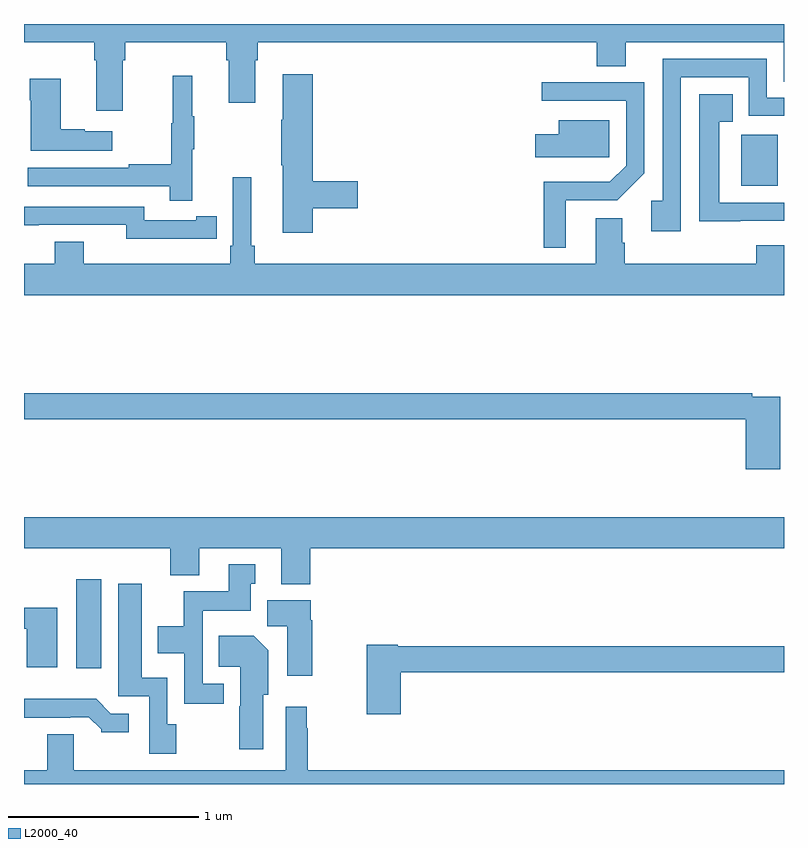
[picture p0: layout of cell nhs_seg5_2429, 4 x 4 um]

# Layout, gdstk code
import gdstk
lib = gdstk.Library(unit=1e-6, precision=1e-09)
def R(c, l, rs):  # rectangles x0, y0, x1, y1
    for r in rs: c.add(gdstk.rectangle(r[:2], r[2:], *l))
def P(c, l, *ps):  # polygons
    for p in ps: c.add(gdstk.Polygon(p, *l))
L2000_40 = (2000, 40)

nhs_seg5_2429 = lib.new_cell('nhs_seg5_2429')
R(nhs_seg5_2429, L2000_40, [(251.276,909.408,251.407,909.877), (254.774,911.948,254.968,912.216)])
P(nhs_seg5_2429, L2000_40, [(251.521,912.608),(251.534,912.608),(251.534,912.704),(252.065,912.704),(252.065,912.608),(252.077,912.608),(252.077,912.384),(252.217,912.384),(252.217,912.608),(252.23,912.608),(252.23,912.704),(254.015,912.704),(254.015,912.577),(254.167,912.577),(254.167,912.704),(254.999,912.704),(254.999,912.496),(255,912.496),(255,912.799),(251,912.799),(251,912.704),(251.369,912.704),(251.369,912.608),(251.381,912.608),(251.381,912.342),(251.521,912.342)],
  [(254.457,912.519),(254.814,912.519),(254.814,912.315),(255,912.315),(255,912.411),(254.91,912.411),(254.91,912.615),(254.361,912.615),(254.361,911.87),(254.301,911.87),(254.301,911.709),(254.457,911.709)],
  [(252.521,911.83),(252.757,911.83),(252.757,911.972),(252.521,911.972),(252.521,912.535),(252.362,912.535),(252.362,912.296),(252.355,912.296),(252.355,912.055),(252.362,912.055),(252.362,911.7),(252.521,911.7)],
  [(251.885,912.139),(251.896,912.139),(251.896,912.313),(251.885,912.313),(251.885,912.526),(251.782,912.526),(251.782,912.276),(251.775,912.276),(251.775,912.062),(251.551,912.062),(251.551,912.042),(251.019,912.042),(251.019,911.946),(251.767,911.946),(251.767,911.868),(251.885,911.868)],
  [(251.464,912.235),(251.321,912.235),(251.321,912.245),(251.194,912.245),(251.194,912.511),(251.029,912.511),(251.029,912.398),(251.036,912.398),(251.036,912.131),(251.464,912.131)],
  [(253.852,911.871),(254.122,911.871),(254.265,912.014),(254.265,912.492),(253.725,912.492),(253.725,912.396),(254.169,912.396),(254.169,912.054),(254.083,911.968),(253.735,911.968),(253.735,911.622),(253.852,911.622)],
  [(254.771,911.763),(255,911.763),(255,911.859),(254.659,911.859),(254.659,912.284),(254.729,912.284),(254.729,912.43),(254.555,912.43),(254.555,911.761),(254.771,911.761)],
  [(254.079,912.292),(253.814,912.292),(253.814,912.22),(253.692,912.22),(253.692,912.098),(254.079,912.098)],
  [(255,911.635),(254.855,911.635),(254.855,911.536),(254.162,911.536),(254.162,911.648),(254.149,911.648),(254.149,911.776),(254.009,911.776),(254.009,911.536),(252.215,911.536),(252.215,911.632),(252.196,911.632),(252.196,911.992),(252.099,911.992),(252.099,911.632),(252.086,911.632),(252.086,911.536),(251.314,911.536),(251.314,911.653),(251.162,911.653),(251.162,911.536),(251,911.536),(251,911.372),(255,911.372)],
  [(251.906,911.67),(252.014,911.67),(252.014,911.786),(251.906,911.786),(251.906,911.766),(251.634,911.766),(251.634,911.838),(251,911.838),(251,911.741),(251.078,911.741),(251.078,911.742),(251.538,911.742),(251.538,911.669),(251.906,911.669)],
  [(254.981,910.836),(254.834,910.836),(254.834,910.856),(251,910.856),(251,910.72),(254.798,910.72),(254.798,910.455),(254.981,910.455)],
  [(252.506,910.04),(255,910.04),(255,910.204),(251,910.204),(251,910.04),(251.771,910.04),(251.771,909.899),(251.923,909.899),(251.923,910.04),(252.353,910.04),(252.353,909.851),(252.506,909.851)],
  [(252.052,909.327),(251.94,909.327),(251.94,909.71),(252.193,909.71),(252.193,909.852),(252.217,909.852),(252.217,909.955),(252.077,909.955),(252.077,909.814),(251.842,909.814),(251.842,909.628),(251.705,909.628),(251.705,909.488),(251.844,909.488),(251.844,909.222),(252.052,909.222)],
  [(251.802,909.114),(251.754,909.114),(251.754,909.358),(251.62,909.358),(251.62,909.853),(251.495,909.853),(251.495,909.261),(251.658,909.261),(251.658,908.958),(251.802,908.958)],
  [(252.516,909.662),(252.508,909.662),(252.508,909.766),(252.281,909.766),(252.281,909.628),(252.386,909.628),(252.386,909.369),(252.516,909.369)],
  [(251.176,909.727),(251,909.727),(251,909.617),(251.014,909.617),(251.014,909.413),(251.176,909.413)],
  [(252.259,909.27),(252.286,909.27),(252.286,909.502),(252.208,909.58),(252.025,909.58),(252.025,909.416),(252.137,909.416),(252.137,909.207),(252.132,909.207),(252.132,908.982),(252.259,908.982)],
  [(252.983,909.388),(255,909.388),(255,909.524),(252.966,909.524),(252.966,909.532),(252.805,909.532),(252.805,909.165),(252.983,909.165)],
  [(251.551,909.168),(251.457,909.168),(251.379,909.247),(251,909.247),(251,909.147),(251.243,909.147),(251.243,909.15),(251.342,909.15),(251.406,909.086),(251.406,909.071),(251.551,909.071)],
  [(255,908.872),(252.494,908.872),(252.494,909.092),(252.487,909.092),(252.487,909.205),(252.378,909.205),(252.378,908.872),(251.263,908.872),(251.263,909.062),(251.123,909.062),(251.123,908.872),(251,908.872),(251,908.799),(255,908.799)])

lib.write_gds('nhs_seg5_2429.gds')
